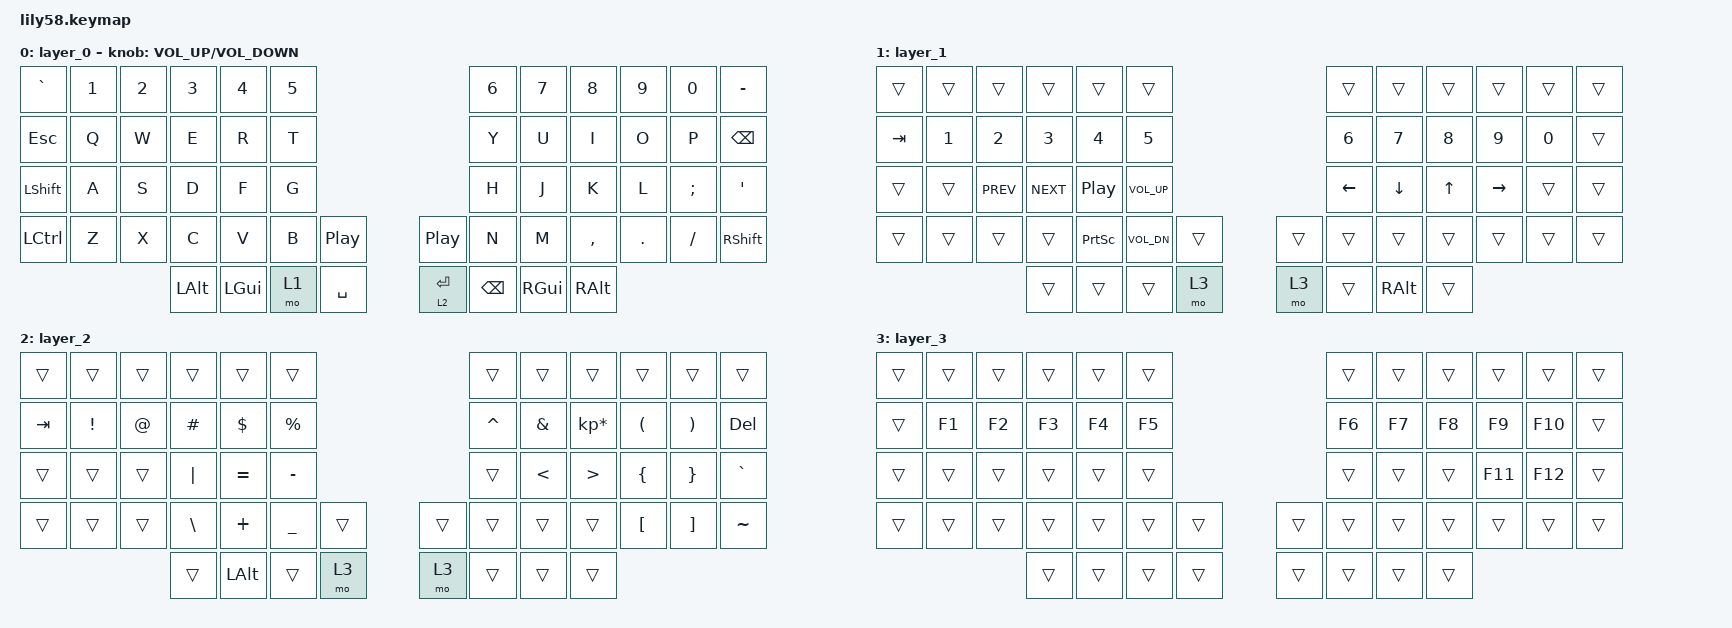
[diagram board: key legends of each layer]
#include <behaviors.dtsi>
#include <dt-bindings/zmk/keys.h>

/ {
    behaviors {
        u_mt: u_mt {
            compatible = "zmk,behavior-hold-tap";
            label = "U_MT";
            bindings = <&mo>, <&kp>;

            #binding-cells = <2>;
            flavor = "tap-preferred";
            tapping-term-ms = <300>;
        };
    };

    keymap {
        compatible = "zmk,keymap";

        layer_0 {
            bindings = <
&kp GRAVE  &kp N1  &kp N2  &kp N3        &kp N4    &kp N5                                        &kp N6         &kp N7    &kp N8         &kp N9   &kp N0    &kp MINUS
&kp ESC    &kp Q   &kp W   &kp E         &kp R     &kp T                                         &kp Y          &kp U     &kp I          &kp O    &kp P     &kp BSPC
&kp LSHFT  &kp A   &kp S   &kp D         &kp F     &kp G                                         &kp H          &kp J     &kp K          &kp L    &kp SEMI  &kp SQT
&kp LCTRL  &kp Z   &kp X   &kp C         &kp V     &kp B   &kp C_PLAY_PAUSE    &kp C_PLAY_PAUSE  &kp N          &kp M     &kp COMMA      &kp DOT  &kp FSLH  &kp RSHFT
                           &kp LEFT_ALT  &kp LGUI  &mo 1   &kp SPACE           &u_mt 2 RETURN    &kp BACKSPACE  &kp RGUI  &kp RIGHT_ALT
            >;

            sensor-bindings = <&inc_dec_kp C_VOLUME_UP C_VOLUME_DOWN>;
        };

        layer_1 {
            bindings = <
&trans   &trans  &trans      &trans      &trans     &trans                             &trans    &trans    &trans  &trans     &trans  &trans
&kp TAB  &kp N1  &kp N2      &kp N3      &kp N4     &kp N5                             &kp N6    &kp N7    &kp N8  &kp N9     &kp N0  &trans
&trans   &trans  &kp C_PREV  &kp C_NEXT  &kp C_PP   &kp C_VOLUME_UP                    &kp LEFT  &kp DOWN  &kp UP  &kp RIGHT  &trans  &trans
&trans   &trans  &trans      &trans      &kp PSCRN  &kp C_VOL_DN     &trans    &trans  &trans    &trans    &trans  &trans     &trans  &trans
                             &trans      &trans     &trans           &mo 3     &mo 3   &trans    &kp RALT  &trans
            >;
        };

        layer_2 {
            bindings = <
&trans   &trans    &trans  &trans         &trans     &trans                       &trans     &trans    &trans            &trans    &trans    &trans
&kp TAB  &kp EXCL  &kp AT  &kp HASH       &kp DLLR   &kp PRCNT                    &kp CARET  &kp AMPS  &kp KP_MULTIPLY   &kp LPAR  &kp RPAR  &kp DEL
&trans   &trans    &trans  &kp PIPE       &kp EQUAL  &kp MINUS                    &trans     &kp LT    &kp GREATER_THAN  &kp LBRC  &kp RBRC  &kp GRAVE
&trans   &trans    &trans  &kp BACKSLASH  &kp PLUS   &kp UNDER  &trans    &trans  &trans     &trans    &trans            &kp LBKT  &kp RBKT  &kp TILDE
                           &trans         &kp LALT   &trans     &mo 3     &mo 3   &trans     &trans    &trans
            >;
        };

        layer_3 {
            bindings = <
&trans  &trans  &trans  &trans  &trans  &trans                    &trans  &trans  &trans  &trans   &trans   &trans
&trans  &kp F1  &kp F2  &kp F3  &kp F4  &kp F5                    &kp F6  &kp F7  &kp F8  &kp F9   &kp F10  &trans
&trans  &trans  &trans  &trans  &trans  &trans                    &trans  &trans  &trans  &kp F11  &kp F12  &trans
&trans  &trans  &trans  &trans  &trans  &trans  &trans    &trans  &trans  &trans  &trans  &trans   &trans   &trans
                        &trans  &trans  &trans  &trans    &trans  &trans  &trans  &trans
            >;
        };
    };
};
